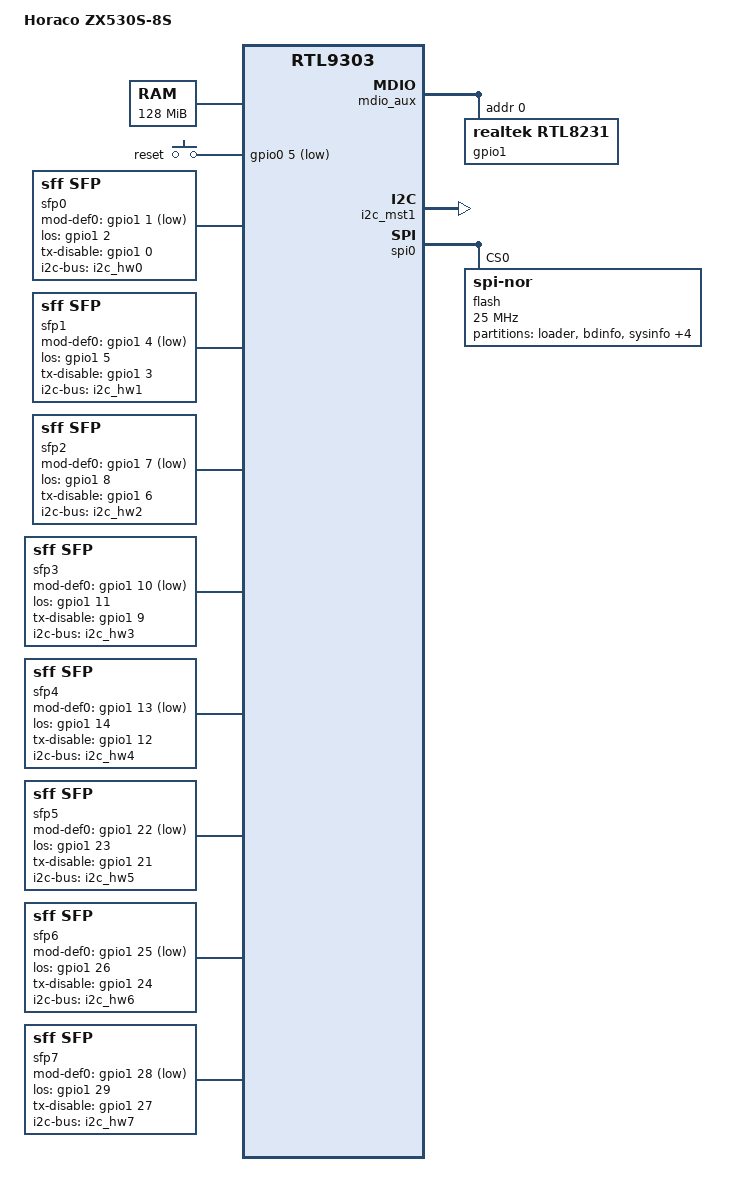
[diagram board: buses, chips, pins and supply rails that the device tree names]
// SPDX-License-Identifier: GPL-2.0-or-later

#include "rtl930x.dtsi"

#include <dt-bindings/gpio/gpio.h>
#include <dt-bindings/input/input.h>

/ {
	compatible = "horaco,zx530s-8s", "realtek,rtl9303-soc";
	model = "Horaco ZX530S-8S";

	aliases {
		label-mac-device = &ethernet0;

	};

	chosen {
		bootargs = "console=ttyS0,115200 earlycon panic=10";
	};

	memory@0 {
		device_type = "memory";
		reg = <0x0 0x8000000>;
	};

	led_set {
		compatible = "realtek,rtl9300-leds";
		realtek,led-mode = <RTL93XX_LED_MODE_SINGLE_COLOR_SCAN>;

		led_set0 = <RTL93XX_LED_SET_NONE
			    (RTL93XX_LED_SET_2P5G | RTL93XX_LED_SET_1G |
			     RTL93XX_LED_SET_100M | RTL93XX_LED_SET_LINK |
			     RTL93XX_LED_SET_ACT)
			    (RTL93XX_LED_SET_10G | RTL93XX_LED_SET_LINK |
			     RTL93XX_LED_SET_ACT)>;
	};

	keys {
		compatible = "gpio-keys";

		reset {
			label = "reset";
			gpios = <&gpio0 5 GPIO_ACTIVE_LOW>;
			linux,code = <KEY_RESTART>;
		};
	};

	sfp0: sfp-p1 {
		compatible = "sff,sfp";
		i2c-bus = <&i2c_hw0>;
		mod-def0-gpio = <&gpio1 1 GPIO_ACTIVE_LOW>;
		los-gpio = <&gpio1 2 GPIO_ACTIVE_HIGH>;
		tx-disable-gpio = <&gpio1 0 GPIO_ACTIVE_HIGH>;
	};

	sfp1: sfp-p2 {
		compatible = "sff,sfp";
		i2c-bus = <&i2c_hw1>;
		mod-def0-gpio = <&gpio1 4 GPIO_ACTIVE_LOW>;
		los-gpio = <&gpio1 5 GPIO_ACTIVE_HIGH>;
		tx-disable-gpio = <&gpio1 3 GPIO_ACTIVE_HIGH>;
	};

	sfp2: sfp-p3 {
		compatible = "sff,sfp";
		i2c-bus = <&i2c_hw2>;
		mod-def0-gpio = <&gpio1 7 GPIO_ACTIVE_LOW>;
		los-gpio = <&gpio1 8 GPIO_ACTIVE_HIGH>;
		tx-disable-gpio = <&gpio1 6 GPIO_ACTIVE_HIGH>;
	};

	sfp3: sfp-p4 {
		compatible = "sff,sfp";
		i2c-bus = <&i2c_hw3>;
		mod-def0-gpio = <&gpio1 10 GPIO_ACTIVE_LOW>;
		los-gpio = <&gpio1 11 GPIO_ACTIVE_HIGH>;
		tx-disable-gpio = <&gpio1 9 GPIO_ACTIVE_HIGH>;
	};

	sfp4: sfp-p5 {
		compatible = "sff,sfp";
		i2c-bus = <&i2c_hw4>;
		mod-def0-gpio = <&gpio1 13 GPIO_ACTIVE_LOW>;
		los-gpio = <&gpio1 14 GPIO_ACTIVE_HIGH>;
		tx-disable-gpio = <&gpio1 12 GPIO_ACTIVE_HIGH>;
	};

	sfp5: sfp-p6 {
		compatible = "sff,sfp";
		i2c-bus = <&i2c_hw5>;
		mod-def0-gpio = <&gpio1 22 GPIO_ACTIVE_LOW>;
		los-gpio = <&gpio1 23 GPIO_ACTIVE_HIGH>;
		tx-disable-gpio = <&gpio1 21 GPIO_ACTIVE_HIGH>;
	};

	sfp6: sfp-p7 {
		compatible = "sff,sfp";
		i2c-bus = <&i2c_hw6>;
		mod-def0-gpio = <&gpio1 25 GPIO_ACTIVE_LOW>;
		los-gpio = <&gpio1 26 GPIO_ACTIVE_HIGH>;
		tx-disable-gpio = <&gpio1 24 GPIO_ACTIVE_HIGH>;
	};

	sfp7: sfp-p8 {
		compatible = "sff,sfp";
		i2c-bus = <&i2c_hw7>;
		mod-def0-gpio = <&gpio1 28 GPIO_ACTIVE_LOW>;
		los-gpio = <&gpio1 29 GPIO_ACTIVE_HIGH>;
		tx-disable-gpio = <&gpio1 27 GPIO_ACTIVE_HIGH>;
	};
};

&mdio_aux {
	pinctrl-names = "default";
	pinctrl-0 = <&pinmux_gpio_mdio_en>;
	status = "okay";

	gpio1: gpio@0 {
		compatible = "realtek,rtl8231";
		reg = <0>;

		gpio-controller;
		#gpio-cells = <2>;
		gpio-ranges = <&gpio1 0 0 37>;
	};

};

&i2c_mst1 {
	status = "okay";

	i2c_hw0: i2c@0 { reg = <0>; };
	i2c_hw1: i2c@1 { reg = <1>; };
	i2c_hw2: i2c@2 { reg = <2>; };
	i2c_hw3: i2c@3 { reg = <3>; };
	i2c_hw4: i2c@4 { reg = <4>; };
	i2c_hw5: i2c@5 { reg = <5>; };
	i2c_hw6: i2c@6 { reg = <6>; };
	i2c_hw7: i2c@7 { reg = <7>; };
};

&switch0 {
	ethernet-ports {
		#address-cells = <1>;
		#size-cells = <0>;

		port@0 {
			reg = <0>;
			label = "lan1";
			pcs-handle = <&serdes2 0>;
			phy-mode = "1000base-x";
			sfp = <&sfp0>;
			managed = "in-band-status";
		};
		port@8 {
			reg = <8>;
			label = "lan2";
			pcs-handle = <&serdes3 0>;
			phy-mode = "1000base-x";
			sfp = <&sfp1>;
			managed = "in-band-status";
		};
		port@10 {
			reg = <16>;
			label = "lan3";
			pcs-handle = <&serdes4 0>;
			phy-mode = "1000base-x";
			sfp = <&sfp2>;
			managed = "in-band-status";
		};
		port@14 {
			reg = <20>;
			label = "lan4";
			pcs-handle = <&serdes5 0>;
			phy-mode = "1000base-x";
			sfp = <&sfp3>;
			managed = "in-band-status";
		};
		port@18 {
			reg = <24>;
			label = "lan5";
			pcs-handle = <&serdes6 0>;
			phy-mode = "1000base-x";
			sfp = <&sfp4>;
			managed = "in-band-status";
		};
		port@19 {
			reg = <25>;
			label = "lan6";
			pcs-handle = <&serdes7 0>;
			phy-mode = "1000base-x";
			sfp = <&sfp5>;
			managed = "in-band-status";
		};
		port@1a {
			reg = <26>;
			label = "lan7";
			pcs-handle = <&serdes8 0>;
			phy-mode = "1000base-x";
			sfp = <&sfp6>;
			managed = "in-band-status";
		};
		port@1b {
			reg = <27>;
			label = "lan8";
			pcs-handle = <&serdes9 0>;
			phy-mode = "1000base-x";
			sfp = <&sfp7>;
			managed = "in-band-status";
		};

		port@1c {
			reg = <28>;
			ethernet = <&ethernet0>;
			phy-mode = "internal";
			fixed-link {
				speed = <1000>;
				full-duplex;
			};
		};
	};
};

&snand {
	status = "disabled";
};

&spi0 {
	status = "okay";

	flash@0 {
		compatible = "jedec,spi-nor";
		reg = <0>;
		spi-max-frequency = <25000000>;

		partitions {
			compatible = "fixed-partitions";
			#address-cells = <1>;
			#size-cells = <1>;

			partition@0 {
				label = "loader";
				reg = <0x0 0xe0000>;
				read-only;
			};

			partition@e0000 {
				label = "bdinfo";
				reg = <0xe0000 0x10000>;
				read-only;

				nvmem-layout {
					compatible = "u-boot,env";

					macaddr_ubootenv_ethaddr: ethaddr {
						#nvmem-cell-cells = <1>;
					};
				};
			};

			partition@f0000 {
				label = "sysinfo";
				reg = <0xf0000 0x10000>;
				read-only;
			};

			partition@100000 {
				label = "jffs2-cfg";
				reg = <0x100000 0x100000>;
				read-only;
			};

			partition@200000 {
				label = "jffs2-log";
				reg = <0x200000 0x100000>;
				read-only;
			};

			partition@300000 {
				label = "firmware";
				reg = <0x300000 0xc00000>;
				compatible = "openwrt,uimage";
				openwrt,ih-magic = <0x83800000>;
			};

			partition@f00000 {
				label = "oeminfo";
				reg = <0xf00000 0x100000>;
				read-only;
			};
		};
	};
};

&ethernet0 {
	nvmem-cells = <&macaddr_ubootenv_ethaddr 0>;
	nvmem-cell-names = "mac-address";
};
